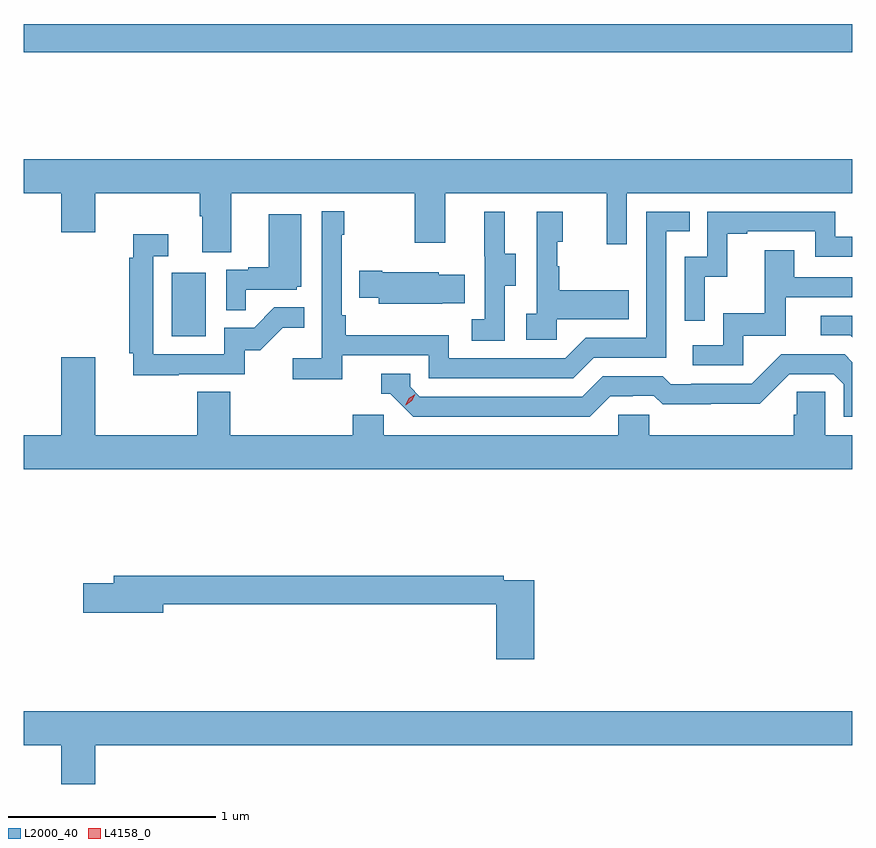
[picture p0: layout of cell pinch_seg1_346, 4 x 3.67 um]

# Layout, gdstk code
import gdstk
lib = gdstk.Library(unit=1e-6, precision=1e-09)
def R(c, l, rs):  # rectangles x0, y0, x1, y1
    for r in rs: c.add(gdstk.rectangle(r[:2], r[2:], *l))
def P(c, l, *ps):  # polygons
    for p in ps: c.add(gdstk.Polygon(p, *l))
L2000_40 = (2000, 40)
L4158_0 = (4158, 0)

pinch_seg1_346 = lib.new_cell('pinch_seg1_346')
R(pinch_seg1_346, L2000_40, [(980.726,552.372,980.89,552.679), (980.011,553.744,984.011,553.88)])
P(pinch_seg1_346, L2000_40, [(980.011,553.064),(980.192,553.064),(980.192,552.876),(980.356,552.876),(980.356,553.064),(980.861,553.064),(980.861,552.952),(980.873,552.952),(980.873,552.778),(981.013,552.778),(981.013,553.064),(981.898,553.064),(981.898,552.825),(982.045,552.825),(982.045,553.064),(982.826,553.064),(982.826,552.816),(982.923,552.816),(982.923,553.064),(984.011,553.064),(984.011,553.228),(980.011,553.228)],
  [(981.548,552.282),(981.966,552.282),(981.966,552.171),(982.663,552.171),(982.762,552.27),(983.112,552.27),(983.112,552.879),(983.225,552.879),(983.225,552.975),(983.016,552.975),(983.016,552.366),(982.725,552.366),(982.626,552.267),(982.062,552.267),(982.062,552.379),(981.566,552.379),(981.566,552.475),(981.546,552.475),(981.546,552.863),(981.559,552.863),(981.559,552.976),(981.45,552.976),(981.45,552.268),(981.309,552.268),(981.309,552.166),(981.548,552.166)],
  [(983.298,552.659),(983.408,552.659),(983.408,552.867),(983.503,552.867),(983.503,552.879),(983.832,552.879),(983.832,552.756),(984.011,552.756),(984.011,552.852),(983.928,552.852),(983.928,552.975),(983.31,552.975),(983.31,552.756),(983.202,552.756),(983.202,552.447),(983.298,552.447)],
  [(982.332,552.616),(982.387,552.616),(982.387,552.771),(982.333,552.771),(982.333,552.973),(982.235,552.973),(982.235,552.759),(982.236,552.759),(982.236,552.455),(982.173,552.455),(982.173,552.352),(982.332,552.352)],
  [(982.584,552.455),(982.931,552.455),(982.931,552.595),(982.597,552.595),(982.597,552.71),(982.587,552.71),(982.587,552.828),(982.612,552.828),(982.612,552.973),(982.488,552.973),(982.488,552.482),(982.437,552.482),(982.437,552.357),(982.584,552.357)],
  [(981.083,552.597),(981.33,552.597),(981.33,552.612),(981.352,552.612),(981.352,552.961),(981.194,552.961),(981.194,552.706),(981.095,552.706),(981.095,552.693),(980.988,552.693),(980.988,552.499),(981.083,552.499)],
  [(980.759,552.189),(981.078,552.189),(981.078,552.306),(981.154,552.306),(981.261,552.413),(981.365,552.413),(981.365,552.512),(981.221,552.512),(981.123,552.414),(980.979,552.414),(980.979,552.285),(980.637,552.285),(980.637,552.759),(980.71,552.759),(980.71,552.865),(980.54,552.865),(980.54,552.752),(980.521,552.752),(980.521,552.292),(980.54,552.292),(980.54,552.184),(980.759,552.184)],
  [(983.484,552.375),(983.689,552.375),(983.689,552.561),(984.011,552.561),(984.011,552.657),(983.731,552.657),(983.731,552.787),(983.587,552.787),(983.587,552.484),(983.388,552.484),(983.388,552.33),(983.241,552.33),(983.241,552.234),(983.484,552.234)],
  [(982.031,552.533),(982.139,552.533),(982.139,552.67),(982.014,552.67),(982.014,552.682),(981.742,552.682),(981.742,552.69),(981.631,552.69),(981.631,552.56),(981.725,552.56),(981.725,552.53),(982.031,552.53)],
  [(984.011,552.471),(983.859,552.471),(983.859,552.378),(984,552.378),(984.011,552.367)],
  [(982.843,552.084),(982.95,552.084),(982.95,552.087),(983.053,552.087),(983.095,552.045),(983.328,552.045),(983.328,552.047),(983.564,552.047),(983.706,552.189),(983.922,552.189),(983.97,552.141),(983.97,551.985),(984.011,551.985),(984.011,552.247),(983.973,552.285),(983.667,552.285),(983.526,552.144),(983.233,552.144),(983.233,552.141),(983.134,552.141),(983.095,552.18),(982.806,552.18),(982.707,552.081),(981.924,552.081),(981.876,552.129),(981.876,552.192),(981.737,552.192),(981.737,552.096),(981.78,552.096),(981.891,551.985),(982.744,551.985)],
  [(984.011,551.896),(983.88,551.896),(983.88,552.104),(983.743,552.104),(983.743,551.994),(983.729,551.994),(983.729,551.896),(983.031,551.896),(983.031,551.994),(982.881,551.994),(982.881,551.896),(981.75,551.896),(981.75,551.994),(981.599,551.994),(981.599,551.896),(981.008,551.896),(981.008,552.104),(980.848,552.104),(980.848,551.896),(980.356,551.896),(980.356,552.271),(980.192,552.271),(980.192,551.896),(980.011,551.896),(980.011,551.732),(984.011,551.732)],
  [(982.475,551.196),(982.328,551.196),(982.328,551.216),(980.447,551.216),(980.447,551.18),(980.298,551.18),(980.298,551.038),(980.686,551.038),(980.686,551.08),(982.292,551.08),(982.292,550.815),(982.475,550.815)],
  [(980.356,550.4),(984.011,550.4),(984.011,550.564),(980.011,550.564),(980.011,550.4),(980.192,550.4),(980.192,550.212),(980.356,550.212)])
P(pinch_seg1_346, L4158_0, [(981.855,552.041),(981.855,552.042),(981.87,552.074),(981.901,552.094),(981.901,552.094),(981.901,552.094),(981.885,552.061),(981.855,552.041)])

lib.write_gds('pinch_seg1_346.gds')
